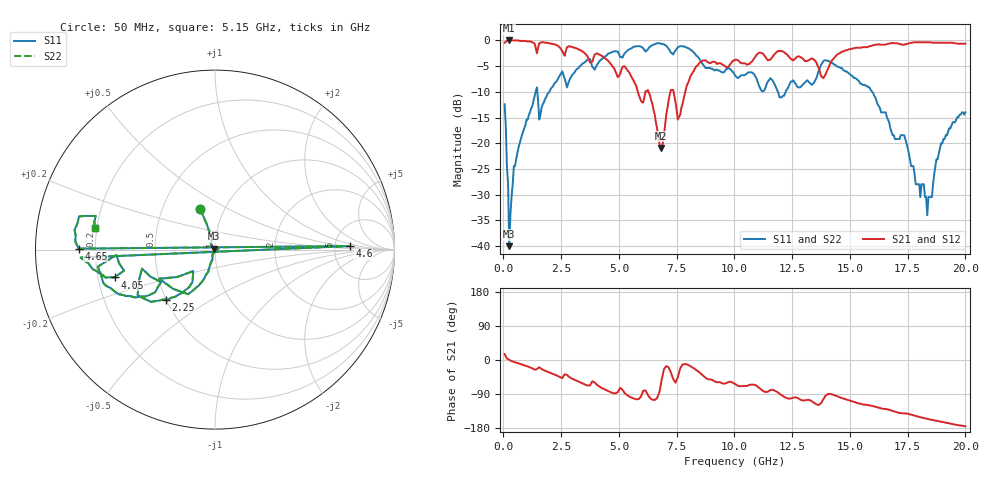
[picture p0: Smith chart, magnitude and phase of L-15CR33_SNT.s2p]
#	mhz	s	ma	r	50
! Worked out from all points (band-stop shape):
!   400 points, 50 MHz to 20 GHz, reference 50 ohm
!   highest |S21| = 0.00 dB at 250 MHz (marker M1); lowest = -20.9 dB at 6.8 GHz (marker M2)
!   |S21| within 3 dB of the highest: start of sweep to 3.62 GHz; 14.39 GHz to end of sweep (the widest 2 of 5)
!   lowest |S11| = -40.0 dB at 250 MHz (marker M3), VSWR 1.02, Z = 49.2 + j0.569 ohm
!   |S11| at or under -10 dB: start of sweep to 1.394 GHz; 1.467 GHz to 1.981 GHz (514.3 MHz wide, 29.8 % of centre); 15.97 GHz to end of sweep (the widest 3 of 4)
!   |S22| runs from -40.0 to -0.5 dB; largest |S21 - S12| = 0
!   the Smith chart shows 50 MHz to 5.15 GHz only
!   S11 on the Smith chart (normalised r, x): 50 MHz: 0.77, +0.37; 2.25 GHz: 0.50, -0.33; 4.05 GHz: 0.27, -0.13; 4.6 GHz: 6.94, +0.62; 4.65 GHz: 0.14, +0.00; 5.15 GHz: 0.19, +0.09
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50  0.24 110.0  0.95 15.6  0.95 15.6  0.24 110.0
250  0.01 144.7  1 0.2  1 0.2  0.01 144.7
450  0.06 -103.3  1 -5.1  1 -5.1  0.06 -103.3
750  0.11 -107.6  0.99 -10.9  0.99 -10.9  0.11 -107.6
2250  0.39 -134.4  0.91 -39.2  0.91 -39.2  0.39 -134.4
3400  0.59 -155.0  0.79 -60.9  0.79 -60.9  0.59 -155.0
4050  0.58 -164.5  0.75 -65.6  0.75 -65.6  0.58 -164.5
4550  0.75 -176.6  0.63 -82.4  0.63 -82.4  0.75 -176.6
4600  0.75 1.5  0.61 -83.9  0.61 -83.9  0.75 1.5
4650  0.76 179.6  0.59 -85.5  0.59 -85.5  0.76 179.6
5150  0.68 169.8  0.55 -78.5  0.55 -78.5  0.68 169.8
6700  0.94 137.3  0.12 -93.1  0.12 -93.1  0.94 137.3
6800  0.93 133.4  0.09 -68.8  0.09 -68.8  0.93 133.4
7250  0.76 117.6  0.33 -32.9  0.33 -32.9  0.76 117.6
7550  0.86 118.4  0.17 -45.7  0.17 -45.7  0.86 118.4
8550  0.63 69.9  0.62 -36.1  0.62 -36.1  0.63 69.9
10050  0.45 72.8  0.65 -63.9  0.65 -63.9  0.45 72.8
13350  0.37 70.0  0.67 -108.8  0.67 -108.8  0.37 70.0
14250  0.6 16.2  0.65 -91.2  0.65 -91.2  0.6 16.2
16700  0.16 9.8  0.93 -131.5  0.93 -131.5  0.16 9.8
18350  0.02 87.3  0.96 -155.5  0.96 -155.5  0.02 87.3
20000  0.2 -59.7  0.93 -174.8  0.93 -174.8  0.2 -59.7
